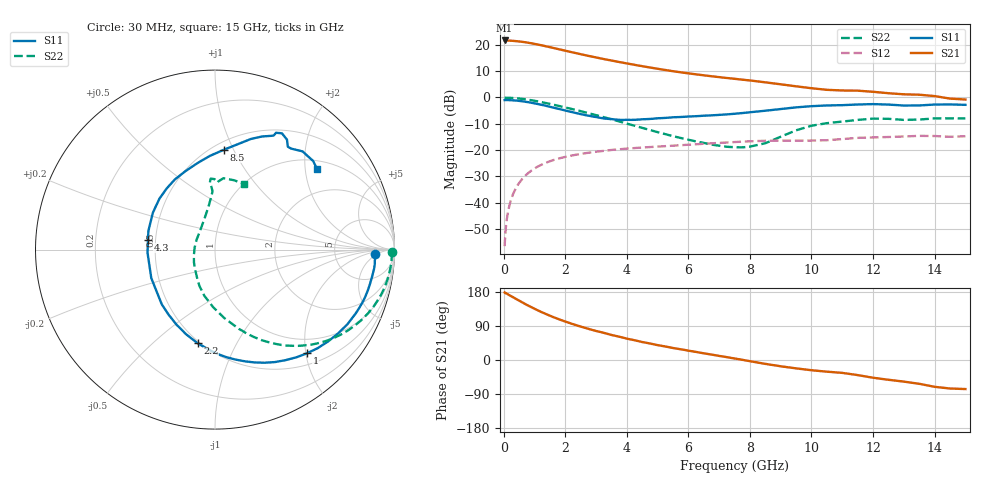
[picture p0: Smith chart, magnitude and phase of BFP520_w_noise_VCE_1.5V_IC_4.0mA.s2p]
! Infineon Technologies  Discrete & RF Semiconductors
! BFP520
! VCE =  1.5 V,  IC =  4.0 mA
! Common Emitter S-Parameters:  Oct 2015
# GHz  S  MA  R  50
!  f  S11  S21  S12  S22
! GHz  MAG  ANG  MAG  ANG  MAG  ANG  MAG  ANG
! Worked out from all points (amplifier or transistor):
!   109 points, 30 MHz to 15 GHz, reference 50 ohm
!   highest |S21| = 21.6 dB at 30 MHz (marker M1)
!   |S21| within 3 dB of that: start of sweep to 1.67 GHz
!   unconditionally stable (mu >= 1): 4.364 GHz to end of sweep
!   at 450 MHz: K = 0.10, MSG = 27.4 dB, |S12| = -33.4 dB
!   at 4 GHz: K = 0.93, MSG = 16.2 dB, |S12| = -19.4 dB
!   at 15 GHz: K = 1.44, MAG = 3.0 dB, |S12| = -14.7 dB
!   lowest NFmin = 1.09 dB at 900 MHz
!   S11 on the Smith chart (normalised r, x): 30 MHz: 17, -4; 1 GHz: 0.71, -2.02; 2.2 GHz: 0.49, -0.71; 4.3 GHz: 0.45, +0.06; 8.5 GHz: 0.57, +0.92; 15 GHz: 1.24, +2.32
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0.03  0.8924 -1.5  12.08 178.3  0.0015 89.4  0.9841 -0.9
0.09  0.893 -4.5  12.04 175.5  0.0044 88.4  0.9854 -2.9
0.2  0.8879 -9.9  11.97 170.4  0.0096 85.0  0.9816 -6.6
0.35  0.8777 -17.3  11.81 163.5  0.0167 81.0  0.9707 -11.5
0.6  0.8467 -29.5  11.39 152.2  0.0282 74.8  0.9397 -19.6
0.8  0.8119 -39.0  10.91 143.4  0.0368 69.8  0.9054 -25.7
1  0.7724 -48.4  10.41 135.3  0.0447 65.2  0.8653 -31.5
1.2  0.7305 -57.5  9.859 127.5  0.0519 60.8  0.8221 -37.0
1.5  0.6657 -70.8  9.02 116.9  0.0614 54.9  0.7552 -44.5
1.8  0.6043 -83.6  8.212 107.3  0.0695 49.7  0.6888 -51.1
2.2  0.5307 -100.5  7.258 95.9  0.0787 43.7  0.6066 -59.0
2.6  0.4698 -117.2  6.439 85.8  0.0864 38.6  0.5311 -66.2
3  0.4253 -134.2  5.749 76.6  0.0932 34.0  0.4616 -73.2
3.5  0.3889 -155.9  5.028 66.1  0.1007 28.7  0.3855 -82.2
4.3  0.3773 171.5  4.115 51.3  0.1099 21.3  0.285 -98.1
5.1  0.4046 146.9  3.429 37.8  0.1175 15.2  0.2121 -115.1
6  0.4341 128.4  2.867 24.6  0.1266 9.2  0.1576 -134.5
7.6  0.4959 100.1  2.225 2.6  0.1432 -2.3  0.1131 169.5
8.5  0.5597 84.7  1.937 -10.2  0.1503 -9.9  0.135 127.6
10.5  0.7048 64.0  1.395 -30.8  0.1542 -21.1  0.3249 92.4
13  0.7023 54.7  1.147 -57.0  0.1815 -39.2  0.375 87.7
15  0.724 38.1  0.914 -76.7  0.1835 -53.9  0.3991 66.1
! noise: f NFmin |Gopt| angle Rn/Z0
0.45  1.12  0.53  3  0.34
0.9  1.09  0.51  11  0.35
1.9  1.34  0.42  23  0.3
2.4  1.4  0.38  35  0.29
3.5  1.35  0.36  58  0.27
